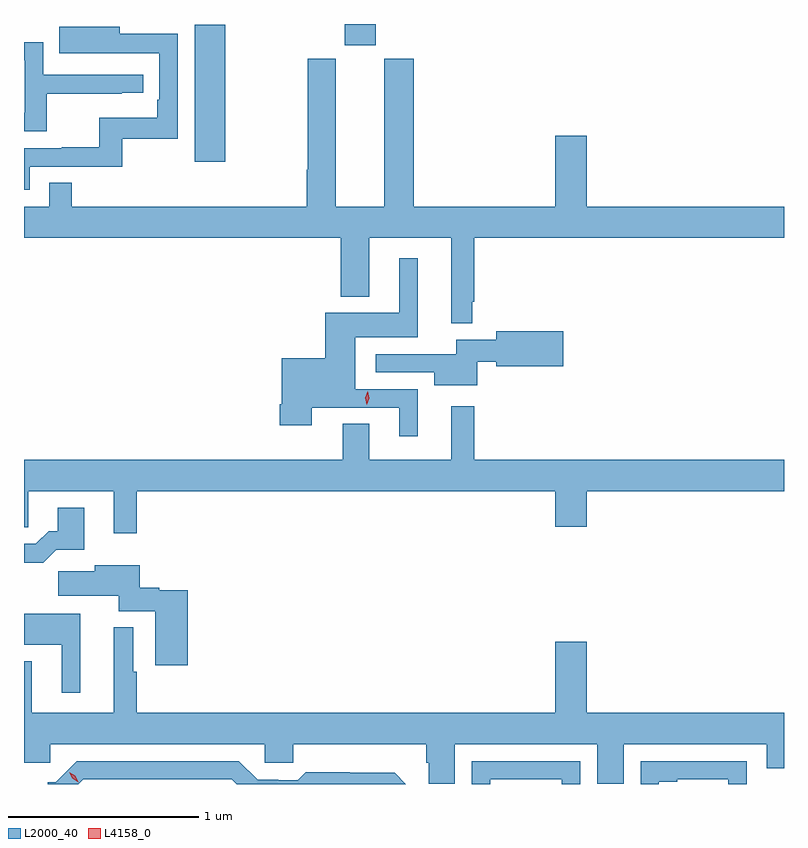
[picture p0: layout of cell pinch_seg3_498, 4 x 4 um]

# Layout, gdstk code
import gdstk
lib = gdstk.Library(unit=1e-6, precision=1e-09)
def R(c, l, rs):  # rectangles x0, y0, x1, y1
    for r in rs: c.add(gdstk.rectangle(r[:2], r[2:], *l))
def P(c, l, *ps):  # polygons
    for p in ps: c.add(gdstk.Polygon(p, *l))
L2000_40 = (2000, 40)
L4158_0 = (4158, 0)

pinch_seg3_498 = lib.new_cell('pinch_seg3_498')
R(pinch_seg3_498, L2000_40, [(978.293,680.004,978.454,680.725), (979.082,680.619,979.246,680.73)])
P(pinch_seg3_498, L2000_40, [(977.424,679.98),(977.911,679.98),(977.911,680.127),(978.204,680.127),(978.204,680.678),(977.899,680.678),(977.899,680.716),(977.581,680.716),(977.581,680.576),(977.795,680.576),(977.795,680.577),(978.108,680.577),(978.108,680.332),(978.095,680.332),(978.095,680.236),(977.79,680.236),(977.79,680.081),(977.593,680.081),(977.593,680.076),(977.395,680.076),(977.395,679.857),(977.424,679.857)],
  [(977.516,680.362),(977.909,680.362),(977.909,680.367),(978.022,680.367),(978.022,680.463),(977.496,680.463),(977.496,680.635),(977.395,680.635),(977.395,680.538),(977.4,680.538),(977.4,680.262),(977.395,680.262),(977.395,680.166),(977.516,680.166)],
  [(979.754,679.267),(979.765,679.267),(979.765,679.604),(981.395,679.604),(981.395,679.768),(980.356,679.768),(980.356,680.143),(980.192,680.143),(980.192,679.768),(979.445,679.768),(979.445,680.547),(979.292,680.547),(979.292,679.768),(979.036,679.768),(979.036,680.547),(978.889,680.547),(978.889,679.964),(978.884,679.964),(978.884,679.768),(977.645,679.768),(977.645,679.895),(977.529,679.895),(977.529,679.768),(977.395,679.768),(977.395,679.604),(979.061,679.604),(979.061,679.295),(979.213,679.295),(979.213,679.604),(979.643,679.604),(979.643,679.155),(979.754,679.155)],
  [(979.468,678.807),(979.138,678.807),(979.138,679.082),(979.468,679.082),(979.468,679.498),(979.37,679.498),(979.37,679.21),(978.98,679.21),(978.98,678.97),(978.752,678.97),(978.752,678.73),(978.74,678.73),(978.74,678.618),(978.91,678.618),(978.91,678.711),(979.37,678.711),(979.37,678.561),(979.468,678.561)],
  [(979.78,678.952),(979.88,678.952),(979.88,678.929),(980.233,678.929),(980.233,679.112),(979.88,679.112),(979.88,679.068),(979.67,679.068),(979.67,678.993),(979.245,678.993),(979.245,678.897),(979.553,678.897),(979.553,678.83),(979.78,678.83)],
  [(977.989,678.272),(980.192,678.272),(980.192,678.084),(980.356,678.084),(980.356,678.272),(981.395,678.272),(981.395,678.436),(979.765,678.436),(979.765,678.718),(979.643,678.718),(979.643,678.436),(979.213,678.436),(979.213,678.626),(979.073,678.626),(979.073,678.436),(977.395,678.436),(977.395,678.082),(977.418,678.082),(977.418,678.272),(977.867,678.272),(977.867,678.051),(977.989,678.051)],
  [(977.564,677.963),(977.713,677.963),(977.713,678.184),(977.573,678.184),(977.573,678.061),(977.524,678.061),(977.457,677.994),(977.395,677.994),(977.395,677.894),(977.495,677.894)],
  [(978.257,677.749),(978.108,677.749),(978.108,677.762),(978.004,677.762),(978.004,677.881),(977.768,677.881),(977.768,677.849),(977.574,677.849),(977.574,677.72),(977.894,677.72),(977.894,677.639),(978.086,677.639),(978.086,677.355),(978.257,677.355)],
  [(977.692,677.626),(977.395,677.626),(977.395,677.462),(977.594,677.462),(977.594,677.211),(977.692,677.211)],
  [(979.662,676.94),(980.412,676.94),(980.412,676.732),(980.551,676.732),(980.551,676.94),(981.303,676.94),(981.303,676.813),(981.395,676.813),(981.395,677.104),(980.356,677.104),(980.356,677.479),(980.192,677.479),(980.192,677.104),(977.989,677.104),(977.989,677.321),(977.971,677.321),(977.971,677.554),(977.867,677.554),(977.867,677.104),(977.437,677.104),(977.437,677.377),(977.395,677.377),(977.395,676.842),(977.532,676.842),(977.532,676.94),(978.663,676.94),(978.663,676.842),(978.813,676.842),(978.813,676.94),(979.511,676.94),(979.511,676.842),(979.525,676.842),(979.525,676.732),(979.662,676.732)],
  [(977.706,676.755),(978.489,676.755),(978.514,676.73),(979.405,676.73),(979.346,676.789),(979.11,676.789),(979.11,676.792),(978.877,676.792),(978.835,676.749),(978.732,676.749),(978.732,676.752),(978.625,676.752),(978.526,676.851),(977.673,676.851),(977.562,676.74),(977.519,676.74),(977.519,676.73),(977.681,676.73)],
  [(979.849,676.755),(980.226,676.755),(980.226,676.73),(980.322,676.73),(980.322,676.851),(979.752,676.851),(979.752,676.73),(979.849,676.73)],
  [(980.737,676.743),(980.833,676.743),(980.833,676.755),(981.102,676.755),(981.102,676.73),(981.198,676.73),(981.198,676.851),(980.64,676.851),(980.64,676.73),(980.737,676.73)])
P(pinch_seg3_498, L4158_0, [(979.198,678.726),(979.198,678.726),(979.191,678.762),(979.203,678.797),(979.204,678.797),(979.204,678.797),(979.211,678.761),(979.198,678.726)],
  [(977.681,676.74),(977.65,676.76),(977.634,676.793),(977.634,676.793),(977.634,676.793),(977.665,676.773),(977.681,676.74),(977.681,676.74)])

lib.write_gds('pinch_seg3_498.gds')
